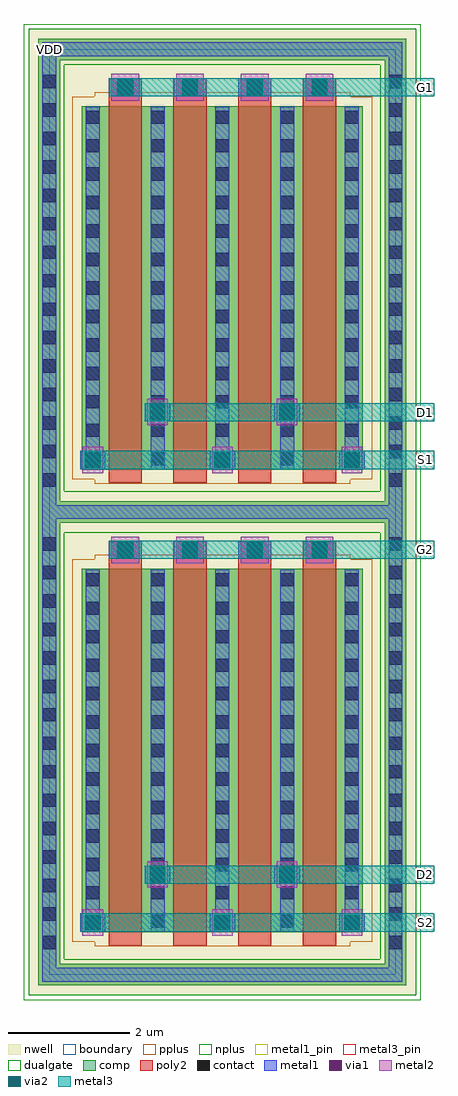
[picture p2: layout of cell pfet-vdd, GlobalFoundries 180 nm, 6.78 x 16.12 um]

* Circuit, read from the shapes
.subckt pfet-vdd D1 D2 G1 G2 S1 S2 VDD
XM1 D2 G2 S2 VDD pfet_06v0 w=6u l=0.55u m=4
XM2 D1 G1 S1 VDD pfet_06v0 w=6u l=0.55u m=4
.ends

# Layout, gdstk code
import gdstk
lib = gdstk.Library(unit=1e-6, precision=1e-09)
def R(c, l, rs):  # rectangles x0, y0, x1, y1
    for r in rs: c.add(gdstk.rectangle(r[:2], r[2:], *l))
def A(c, l, x, y, w, h, nx, ny, dx, dy):  # array of equal rectangles
    R(c, l, [(x+i*dx, y+j*dy, x+i*dx+w, y+j*dy+h) for i in range(nx) for j in range(ny)])
boundary = (0, 0)
nwell = (21, 0)
comp = (22, 0)
poly2 = (30, 0)
pplus = (31, 0)
nplus = (32, 0)
contact = (33, 0)
metal1 = (34, 0)
metal1_pin = (34, 10)
via1 = (35, 0)
metal2 = (36, 0)
via2 = (38, 0)
metal3 = (42, 0)
metal3_pin = (42, 10)
dualgate = (55, 0)

pfet_06v0_zxy25q = lib.new_cell('pfet_06v0_ZXY25Q')
R(pfet_06v0_zxy25q, boundary, [(-2.86,-3.82,2.86,3.82)])
R(pfet_06v0_zxy25q, nwell, [(-3.2,-4.16,3.2,4.16)])
R(pfet_06v0_zxy25q, comp, [(-3.04,-4,3.04,-3.64), (-3.04,-3.64,-2.68,3.64), (2.68,-3.64,3.04,3.64), (-2.32,-3.12,2.32,2.88), (-3.04,3.64,3.04,4)])
A(pfet_06v0_zxy25q, poly2, -1.88, -3.34, 0.55, 6.68, 4, 1, 1.07, 0)
R(pfet_06v0_zxy25q, pplus, [(-2.11,-3.35,2.11,-3.28), (-2.48,-3.28,2.48,3.04), (-2.11,3.04,2.11,3.11)])
R(pfet_06v0_zxy25q, nplus, [(-3.2,-4.16,3.2,-3.57), (-3.2,-3.57,-2.61,3.57), (2.61,-3.57,3.2,3.57), (-3.2,3.57,3.2,4.16)])
A(pfet_06v0_zxy25q, contact, -2.97, -3.4, 0.22, 0.22, 1, 15, 0, 0.47)
A(pfet_06v0_zxy25q, contact, 2.75, -3.4, 0.22, 0.22, 1, 15, 0, 0.47)
A(pfet_06v0_zxy25q, contact, -2.25, -3.05, 0.22, 0.22, 5, 13, 1.07, 0.47)
A(pfet_06v0_zxy25q, contact, -1.715, 3.05, 0.22, 0.22, 4, 1, 1.07, 0)
A(pfet_06v0_zxy25q, metal1, -2.255, -3.11, 0.23, 5.98, 5, 1, 1.07, 0)
A(pfet_06v0_zxy25q, metal1, -1.87, 3.045, 0.53, 0.23, 4, 1, 1.07, 0)
R(pfet_06v0_zxy25q, metal1, [(-2.975,-3.935,2.975,-3.705), (-2.975,-3.705,-2.745,3.705), (2.745,-3.705,2.975,3.705), (-2.975,3.705,2.975,3.935)])
R(pfet_06v0_zxy25q, dualgate, [(-3.28,-4.24,3.28,4.24)])

pfet_vdd = lib.new_cell('pfet-vdd')
A(pfet_vdd, metal1, 0.51, -18.93, 0.42, 0.3, 3, 2, 2.14, 7.64)
A(pfet_vdd, metal1, 0.605, -18.63, 0.23, 5.68, 3, 1, 2.14, 0)
A(pfet_vdd, metal1, 0.985, -12.775, 0.54, 0.3, 4, 2, 1.07, 7.64)
R(pfet_vdd, metal1, [(1.675,-18.93,1.905,-18.14), (3.815,-18.93,4.045,-18.14), (1.58,-18.14,2,-17.84), (3.72,-18.14,4.14,-17.84), (1.675,-17.84,1.905,-12.95), (3.815,-17.84,4.045,-12.95), (1.58,-10.5,2,-10.2), (3.72,-10.5,4.14,-10.2), (-0.115,-4.475,0.115,-4.245)])
R(pfet_vdd, metal1_pin, [(-0.115,-4.475,0.115,-4.245)])
A(pfet_vdd, via1, 0.59, -18.91, 0.26, 0.26, 3, 2, 2.14, 7.64)
A(pfet_vdd, via1, 1.125, -12.755, 0.26, 0.26, 4, 2, 1.07, 7.64)
R(pfet_vdd, via1, [(1.66,-18.12,1.92,-17.86), (3.8,-18.12,4.06,-17.86), (1.66,-10.48,1.92,-10.22), (3.8,-10.48,4.06,-10.22)])
A(pfet_vdd, metal2, 0.55, -19, 0.34, 0.44, 3, 2, 2.14, 7.64)
A(pfet_vdd, metal2, 1.025, -12.845, 0.46, 0.44, 4, 2, 1.07, 7.64)
R(pfet_vdd, metal2, [(1.62,-18.21,1.96,-17.77), (3.76,-18.21,4.1,-17.77), (1.62,-10.57,1.96,-10.13), (3.76,-10.57,4.1,-10.13)])
A(pfet_vdd, via2, 0.59, -18.91, 0.26, 0.26, 3, 2, 2.14, 7.64)
A(pfet_vdd, via2, 1.125, -12.755, 0.26, 0.26, 4, 2, 1.07, 7.64)
R(pfet_vdd, via2, [(1.66,-18.12,1.92,-17.86), (3.8,-18.12,4.06,-17.86), (1.66,-10.48,1.92,-10.22), (3.8,-10.48,4.06,-10.22)])
R(pfet_vdd, metal3, [(0.52,-18.93,6.36,-18.63), (1.59,-18.14,6.36,-17.84), (0.995,-12.775,6.36,-12.475), (0.52,-11.29,6.36,-10.99), (1.59,-10.5,6.36,-10.2), (0.995,-5.135,6.36,-4.835)])
R(pfet_vdd, metal3_pin, [(6.06,-18.93,6.36,-18.63), (6.06,-18.14,6.36,-17.84), (6.06,-12.775,6.36,-12.475), (6.06,-11.29,6.36,-10.99), (6.06,-10.5,6.36,-10.2), (6.06,-5.135,6.36,-4.835)])
pfet_vdd.add(gdstk.Reference(pfet_06v0_zxy25q, (2.86,-15.82)))
pfet_vdd.add(gdstk.Reference(pfet_06v0_zxy25q, (2.86,-8.18)))
pfet_vdd.add(gdstk.Label('VDD', (0,-4.36), layer=34, texttype=10))
pfet_vdd.add(gdstk.Label('G1', (6.21,-4.985), layer=42, texttype=10))
pfet_vdd.add(gdstk.Label('D1', (6.21,-10.35), layer=42, texttype=10))
pfet_vdd.add(gdstk.Label('S1', (6.21,-11.14), layer=42, texttype=10))
pfet_vdd.add(gdstk.Label('G2', (6.21,-12.625), layer=42, texttype=10))
pfet_vdd.add(gdstk.Label('D2', (6.21,-17.99), layer=42, texttype=10))
pfet_vdd.add(gdstk.Label('S2', (6.21,-18.78), layer=42, texttype=10))

lib.write_gds('pfet-vdd.gds')
